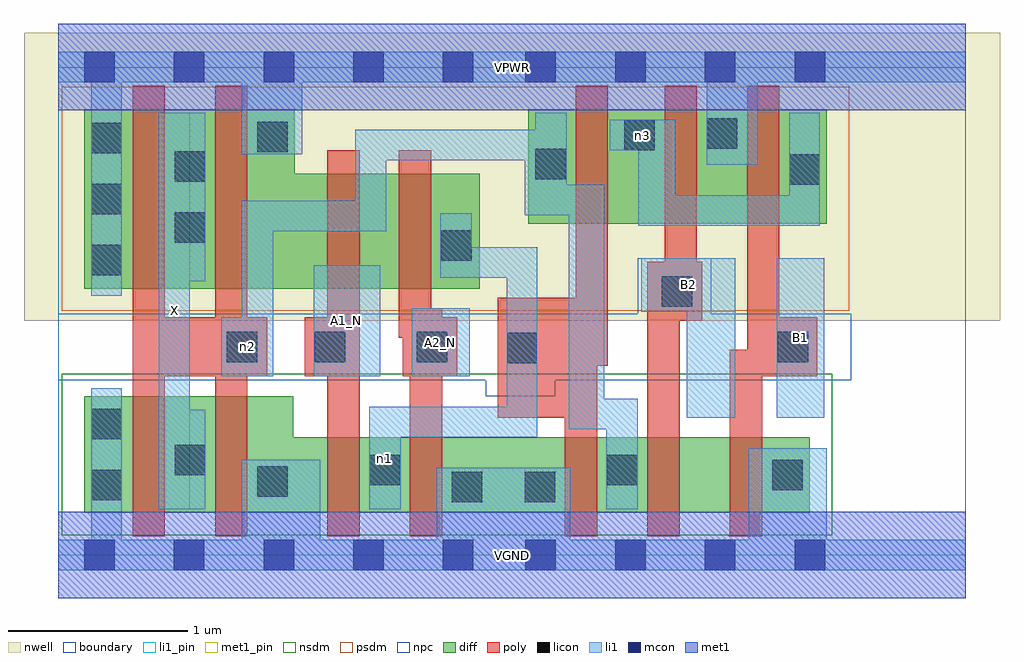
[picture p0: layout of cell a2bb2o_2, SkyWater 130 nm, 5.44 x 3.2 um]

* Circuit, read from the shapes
.subckt a2bb2o_2 A1_N A2_N B1 B2 VGND VPWR X n1 n2 n3
XM1 X n2 VGND VSUBS sky130_fd_pr__nfet_01v8 w=0.65 l=0.18 m=2
XM2 n1 A1_N VGND VSUBS sky130_fd_pr__nfet_01v8 w=0.42 l=0.18
XM3 VGND A2_N n1 VSUBS sky130_fd_pr__nfet_01v8 w=0.42 l=0.18
XM4 n2 n1 VGND VSUBS sky130_fd_pr__nfet_01v8 w=0.42 l=0.18
XM5 n4 B2 n2 VSUBS sky130_fd_pr__nfet_01v8 w=0.42 l=0.18
XM6 VGND B1 n4 VSUBS sky130_fd_pr__nfet_01v8 w=0.42 l=0.18
XM7 X n2 VPWR n5 sky130_fd_pr__pfet_01v8 w=1 l=0.18 m=2
XM8 n6 A1_N VPWR n5 sky130_fd_pr__pfet_01v8 w=0.64 l=0.18
XM9 n1 A2_N n6 n5 sky130_fd_pr__pfet_01v8 w=0.64 l=0.18
XM10 n3 n1 n2 n5 sky130_fd_pr__pfet_01v8 w=0.64 l=0.18
XM11 VPWR B2 n3 n5 sky130_fd_pr__pfet_01v8 w=0.64 l=0.18
XM12 n3 B1 VPWR n5 sky130_fd_pr__pfet_01v8 w=0.64 l=0.18
.ends

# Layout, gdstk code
import gdstk
lib = gdstk.Library(unit=1e-6, precision=1e-09)
def R(c, l, rs):  # rectangles x0, y0, x1, y1
    for r in rs: c.add(gdstk.rectangle(r[:2], r[2:], *l))
def A(c, l, x, y, w, h, nx, ny, dx, dy):  # array of equal rectangles
    R(c, l, [(x+i*dx, y+j*dy, x+i*dx+w, y+j*dy+h) for i in range(nx) for j in range(ny)])
nwell = (64, 20)
diff = (65, 20)
poly = (66, 20)
licon = (66, 44)
li1_pin = (67, 16)
li1 = (67, 20)
mcon = (67, 44)
met1_pin = (68, 16)
met1 = (68, 20)
nsdm = (93, 44)
psdm = (94, 20)
npc = (95, 20)
boundary = (235, 4)

a2bb2o_2 = lib.new_cell('a2bb2o_2')
R(a2bb2o_2, nwell, [(-0.19,1.305,5.25,2.91), (0,1.305,5.06,2.91)])
R(a2bb2o_2, diff, [(0.145,0.235,4.19,0.655), (0.145,0.235,1.31,0.885), (0.145,1.485,2.35,2.125), (0.145,1.485,1.32,2.485), (2.62,1.845,4.285,2.485)])
R(a2bb2o_2, poly, [(0.415,0.105,0.595,2.615), (0.875,0.105,1.055,2.615), (1.5,0.105,1.68,2.255), (1.96,0.105,2.14,1.375), (2.825,0.105,3.005,1.435), (3.285,0.105,3.465,1.635), (3.745,0.105,3.925,1.145), (2.45,0.765,3.005,1.435), (0.415,0.995,1.165,1.325), (1.375,0.995,1.68,1.325), (1.92,0.995,2.225,1.325), (3.84,0.995,4.02,2.615), (3.84,0.995,4.23,1.325), (2.885,1.055,3.065,2.615), (1.9,1.21,2.08,2.255), (3.285,1.305,3.59,1.635), (3.38,1.305,3.56,2.615)])
A(a2bb2o_2, licon, 0.185, 1.56, 0.17, 0.17, 1, 3, 0, 0.34)
R(a2bb2o_2, licon, [(2.195,0.295,2.365,0.465), (2.6,0.295,2.77,0.465), (0.185,0.305,0.355,0.475), (1.11,0.325,1.28,0.495), (3.98,0.36,4.15,0.53), (1.735,0.39,1.905,0.56), (3.06,0.39,3.23,0.56), (0.65,0.445,0.82,0.615), (0.185,0.645,0.355,0.815), (2.5,1.07,2.67,1.24), (0.94,1.075,1.11,1.245), (1.43,1.075,1.6,1.245), (2,1.075,2.17,1.245), (4.01,1.075,4.18,1.245), (3.365,1.385,3.535,1.555), (2.135,1.64,2.305,1.81), (0.65,1.74,0.82,1.91), (4.075,2.065,4.245,2.235), (0.65,2.08,0.82,2.25), (2.66,2.095,2.83,2.265), (1.11,2.245,1.28,2.415), (3.155,2.255,3.325,2.425), (3.615,2.265,3.785,2.435)])
R(a2bb2o_2, li1_pin, [(0.56,0.255,0.735,2.465), (4.005,0.765,4.27,1.655), (1.425,0.995,1.795,1.615), (1.97,0.995,2.295,1.375), (3.25,1.355,3.775,1.655)])
R(a2bb2o_2, li1, [(0,-0.085,5.06,0.085), (0.185,-0.085,0.355,0.93), (1.025,-0.085,1.46,0.53), (2.11,-0.085,2.855,0.485), (3.85,-0.085,4.285,0.595), (0.56,0.255,0.735,2.465), (0.56,0.255,0.82,0.81), (1.735,0.255,1.91,0.825), (3.055,0.255,3.23,0.87), (1.735,0.655,2.67,0.825), (2.5,0.655,2.67,1.715), (2.845,0.7,3.045,2.065), (2.845,0.7,3.23,0.87), (3.505,0.765,3.775,1.655), (4.005,0.765,4.27,1.655), (0.91,0.995,1.2,1.325), (1.025,0.995,1.2,1.975), (1.425,0.995,1.795,1.615), (1.97,0.995,2.295,1.375), (3.25,1.355,3.775,1.655), (0.185,1.445,0.355,2.805), (0.56,1.525,0.82,2.465), (2.13,1.545,2.67,1.715), (2.13,1.545,2.305,1.905), (1.025,1.805,1.83,1.975), (1.655,1.805,1.83,2.37), (3.235,1.835,4.245,2.005), (3.235,1.835,3.44,2.425), (4.075,1.835,4.245,2.465), (2.6,1.895,2.835,2.37), (2.6,1.895,3.045,2.065), (2.66,1.895,2.835,2.465), (3.615,2.175,3.9,2.805), (1.655,2.2,2.835,2.37), (1.025,2.235,1.36,2.805), (3.075,2.255,3.44,2.425), (0,2.635,5.06,2.805)])
A(a2bb2o_2, mcon, 0.145, -0.085, 0.17, 0.17, 5, 2, 0.5, 2.72)
A(a2bb2o_2, mcon, 2.605, -0.085, 0.17, 0.17, 4, 2, 0.5, 2.72)
R(a2bb2o_2, met1_pin, [(0,-0.24,5.06,0.24), (0,2.48,5.06,2.96)])
R(a2bb2o_2, met1, [(0,-0.24,5.06,0.24), (0,2.48,5.06,2.96)])
R(a2bb2o_2, nsdm, [(0.02,0.11,4.315,1.01)])
R(a2bb2o_2, psdm, [(0.02,1.36,4.41,2.61)])
R(a2bb2o_2, npc, [(2.385,0.885,2.77,1.345), (0,0.975,4.42,1.345), (3.23,0.975,3.64,1.655)])
R(a2bb2o_2, boundary, [(0,0,5.06,2.72)])
a2bb2o_2.add(gdstk.Label('A1_N', (1.61,1.305), layer=67, texttype=5))
a2bb2o_2.add(gdstk.Label('A2_N', (2.132,1.185), layer=67, texttype=5))
a2bb2o_2.add(gdstk.Label('B1', (4.137,1.21), layer=67, texttype=5))
a2bb2o_2.add(gdstk.Label('B2', (3.512,1.505), layer=67, texttype=5))
a2bb2o_2.add(gdstk.Label('X', (0.647,1.36), layer=67, texttype=5))
a2bb2o_2.add(gdstk.Label('n1', (1.822,0.54), layer=67, texttype=5))
a2bb2o_2.add(gdstk.Label('n2', (1.055,1.16), layer=67, texttype=5))
a2bb2o_2.add(gdstk.Label('n3', (3.257,2.34), layer=67, texttype=5))
a2bb2o_2.add(gdstk.Label('VPWR', (2.53,2.72), layer=68, texttype=5))
a2bb2o_2.add(gdstk.Label('VGND', (2.53,0), layer=68, texttype=5))
a2bb2o_2.add(gdstk.Label('A1_N', (1.61,1.305), layer=67, texttype=16))
a2bb2o_2.add(gdstk.Label('A2_N', (2.132,1.185), layer=67, texttype=16))
a2bb2o_2.add(gdstk.Label('B1', (4.137,1.21), layer=67, texttype=16))
a2bb2o_2.add(gdstk.Label('B2', (3.512,1.505), layer=67, texttype=16))
a2bb2o_2.add(gdstk.Label('X', (0.647,1.36), layer=67, texttype=16))
a2bb2o_2.add(gdstk.Label('VPWR', (2.53,2.72), layer=68, texttype=16))
a2bb2o_2.add(gdstk.Label('VGND', (2.53,0), layer=68, texttype=16))

lib.write_gds('a2bb2o_2.gds')
